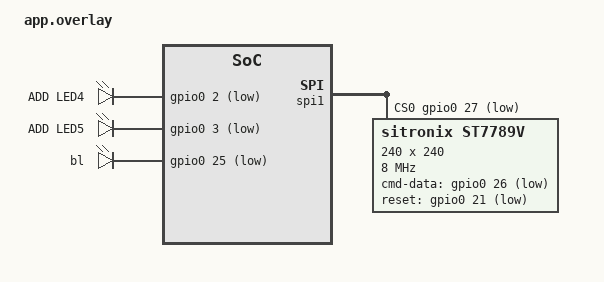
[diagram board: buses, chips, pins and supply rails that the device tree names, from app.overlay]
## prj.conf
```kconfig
# Hardware config System config
CONFIG_MAIN_STACK_SIZE=2048
CONFIG_DEBUG=y
CONFIG_LOG=y

# DISPLAY
CONFIG_DISPLAY=y
CONFIG_SPI=y
CONFIG_ST7789V=y

# LVGL config
CONFIG_LVGL=y
CONFIG_LV_MEM_CUSTOM=y
CONFIG_LV_USE_LOG=y
CONFIG_LV_COLOR_DEPTH_16=y
CONFIG_LV_COLOR_16_SWAP=y
CONFIG_LV_Z_BITS_PER_PIXEL=16
CONFIG_LV_USE_THEME_DEFAULT=y
CONFIG_LV_THEME_DEFAULT_DARK=y
CONFIG_LV_USE_METER=y
CONFIG_LV_Z_MEM_POOL_NUMBER_BLOCKS=8
```

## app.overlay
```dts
/*
 * Copyright (c) 2022 Nordic Semiconductor ASA
 *
 * SPDX-License-Identifier: LicenseRef-Nordic-5-Clause
 */

/ {
    chosen {
        nordic,nus-uart = &uart0;
        zephyr,display = &st7789v;
    };
};
/ {
    leds {
        compatible = "gpio-leds";//组件名 可以去sdk下面找到gpio_leds.c的驱动文件：C: \ncs\sdk\zephyr\drivers\led\gpio_leds.c和C: \ncs\sdk\zephyr\dts\bindings\led\gpio-leds.yaml
        led4: led_4 {
            gpios = <&gpio0 2 GPIO_ACTIVE_LOW>;
            label = "ADD LED4";
        };
        led5: led_5 {
            gpios = <&gpio0 3 GPIO_ACTIVE_LOW>;
            label = "ADD LED5";
        };
        bl: bl {
            gpios = <&gpio0 25 GPIO_ACTIVE_LOW>;
            label = "bl";
        };

    };
    aliases {
        led4=&led4;//因为是以别名调用这个驱动的所以添加这个别名
        led5=&led5;
    };
};

&spi1_default {
    group1 {
        psels = <NRF_PSEL(SPIM_SCK, 0, 29)>, <NRF_PSEL(SPIM_MOSI, 0, 28)>;
    };
};
&spi1_sleep {
    group1 {
        psels = <NRF_PSEL(SPIM_SCK, 0, 29)>, <NRF_PSEL(SPIM_MOSI, 0, 28)>;
    };
};
&spi1 {
    compatible = "nordic,nrf-spi";
    status = "okay";

    cs-gpios = <&gpio0 27 GPIO_ACTIVE_LOW>;

    pinctrl-0 = <&spi1_default>;
    pinctrl-1 = <&spi1_sleep>;
    pinctrl-names = "default", "sleep";

    /* Sitronix ST7789V LCD */
    st7789v: st7789v@0 {
        compatible = "sitronix,st7789v";
        label = "ST7789V";
        reg = <0>;
        spi-max-frequency = <8000000>; /* 8MHz */
        cmd-data-gpios = <&gpio0 26 GPIO_ACTIVE_LOW>;    /* DET */
        reset-gpios = <&gpio0 21 GPIO_ACTIVE_LOW>;    /* RESX reset */
        width = <240>;
        height = <240>;
        x-offset = <0>;
        y-offset = <0>;
        vcom = <0x19>;
        gctrl = <0x35>;
        vrhs = <0x12>;
        vdvs = <0x20>;
        mdac = <0x00>;
        gamma = <0x01>;
        colmod = <0x05>;
        lcm = <0x2c>;
        porch-param = [ 0c 0c 00 33 33  ];
        cmd2en-param = [ 5a 69 02 01  ];
        pwctrl1-param = [ a4 a1  ];
        pvgam-param = [ D0 04 0D 11 13 2B 3F 54 4C 18 0D 0B 1F 23  ];
        nvgam-param = [ D0 04 0C 11 13 2C 3F 44 51 2F 1F 1F 20 23  ];
        ram-param = [ 00 F0  ];
        rgb-param = [ CD 08 14  ];
    };
};
/delete-node/ &{/pin-controller/spi1_sleep/group1/};
/delete-node/ &{/pin-controller/i2c0_default/group1/};
/delete-node/ &{/pin-controller/i2c0_sleep/group1/};/delete-node/ &{/pin-controller/spi2_default/group1/};
/delete-node/ &{/pin-controller/spi2_sleep/group1/};

&spi2 {
    /delete-property/ cs-gpios;
};
```

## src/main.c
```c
#include <zephyr/device.h>
#include <zephyr/drivers/display.h>
#include <lvgl.h>
#include <stdio.h>
#include <string.h>
#include <zephyr/kernel.h>
#include "lvgl_sample.h"
#include <zephyr/logging/log.h>
#define DISPLAY_DRIVER "ST7789V"

#define LOG_LEVEL CONFIG_LOG_DEFAULT_LEVEL
LOG_MODULE_REGISTER(app);

void main(void)
{
	const struct device *display_dev;

	display_dev = device_get_binding(DISPLAY_DRIVER);
	if (!device_is_ready(display_dev))
	{
		LOG_ERR("Device not ready, aborting test");
		return;
	}

	lv_sample();
	lv_task_handler();
	display_blanking_off(display_dev);

	while (1)
	{
		lv_task_handler();
		k_sleep(K_MSEC(10));
	}
}
```
